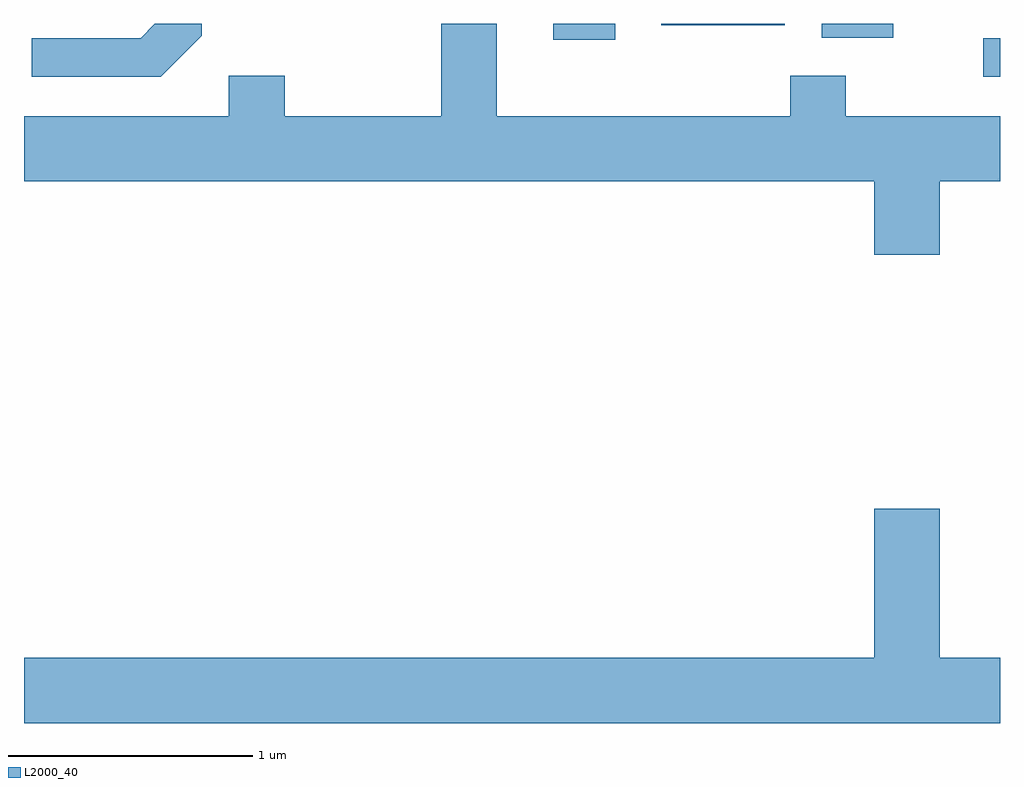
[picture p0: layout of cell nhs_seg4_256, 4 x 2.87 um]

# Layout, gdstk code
import gdstk
lib = gdstk.Library(unit=1e-6, precision=1e-09)
def R(c, l, rs):  # rectangles x0, y0, x1, y1
    for r in rs: c.add(gdstk.rectangle(r[:2], r[2:], *l))
def P(c, l, *ps):  # polygons
    for p in ps: c.add(gdstk.Polygon(p, *l))
L2000_40 = (2000, 40)

nhs_seg4_256 = lib.new_cell('nhs_seg4_256')
R(nhs_seg4_256, L2000_40, [(195.543,1361.766,195.611,1361.924), (193.781,1361.916,194.034,1361.982), (194.881,1361.926,195.174,1361.982), (194.223,1361.976,194.729,1361.982)])
P(nhs_seg4_256, L2000_40, [(195.364,1361.336),(195.611,1361.336),(195.611,1361.604),(194.979,1361.604),(194.979,1361.769),(194.751,1361.769),(194.751,1361.604),(193.549,1361.604),(193.549,1361.982),(193.321,1361.982),(193.321,1361.604),(192.679,1361.604),(192.679,1361.769),(192.451,1361.769),(192.451,1361.604),(191.611,1361.604),(191.611,1361.336),(195.096,1361.336),(195.096,1361.036),(195.364,1361.036)],
  [(192.339,1361.934),(192.339,1361.982),(192.146,1361.982),(192.089,1361.924),(191.643,1361.924),(191.643,1361.766),(192.172,1361.766)],
  [(195.611,1359.384),(195.364,1359.384),(195.364,1359.994),(195.096,1359.994),(195.096,1359.384),(191.611,1359.384),(191.611,1359.116),(195.611,1359.116)])

lib.write_gds('nhs_seg4_256.gds')
